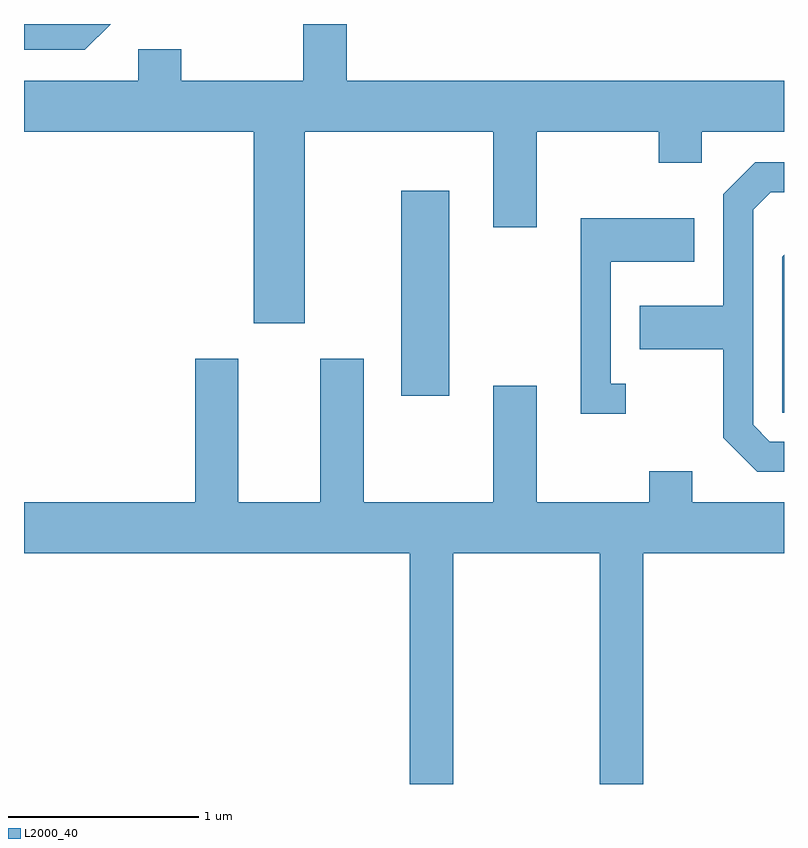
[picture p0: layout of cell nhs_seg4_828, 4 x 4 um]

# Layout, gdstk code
import gdstk
lib = gdstk.Library(unit=1e-6, precision=1e-09)
def R(c, l, rs):  # rectangles x0, y0, x1, y1
    for r in rs: c.add(gdstk.rectangle(r[:2], r[2:], *l))
def P(c, l, *ps):  # polygons
    for p in ps: c.add(gdstk.Polygon(p, *l))
L2000_40 = (2000, 40)

nhs_seg4_828 = lib.new_cell('nhs_seg4_828')
R(nhs_seg4_828, L2000_40, [(211.596,1280.026,211.849,1281.104)])
P(nhs_seg4_828, L2000_40, [(211.089,1281.416),(212.081,1281.416),(212.081,1280.911),(212.309,1280.911),(212.309,1281.416),(212.951,1281.416),(212.951,1281.251),(213.179,1281.251),(213.179,1281.416),(213.611,1281.416),(213.611,1281.684),(211.309,1281.684),(211.309,1281.982),(211.081,1281.982),(211.081,1281.684),(210.439,1281.684),(210.439,1281.849),(210.211,1281.849),(210.211,1281.684),(209.611,1281.684),(209.611,1281.416),(210.821,1281.416),(210.821,1280.406),(211.089,1280.406)],
  [(210.067,1281.982),(209.611,1281.982),(209.611,1281.846),(209.932,1281.846)],
  [(213.611,1279.784),(213.537,1279.784),(213.449,1279.872),(213.449,1281.004),(213.542,1281.096),(213.611,1281.096),(213.611,1281.254),(213.459,1281.254),(213.291,1281.087),(213.291,1280.499),(212.851,1280.499),(212.851,1280.271),(213.291,1280.271),(213.291,1279.804),(213.469,1279.626),(213.611,1279.626)],
  [(212.778,1280.089),(212.699,1280.089),(212.699,1280.731),(213.139,1280.731),(213.139,1280.959),(212.541,1280.959),(212.541,1279.931),(212.778,1279.931)],
  [(213.611,1280.767),(213.601,1280.757),(213.601,1279.936),(213.611,1279.936)],
  [(211.869,1279.196),(212.641,1279.196),(212.641,1277.982),(212.869,1277.982),(212.869,1279.196),(213.611,1279.196),(213.611,1279.464),(213.129,1279.464),(213.129,1279.629),(212.901,1279.629),(212.901,1279.464),(212.309,1279.464),(212.309,1280.079),(212.081,1280.079),(212.081,1279.464),(211.399,1279.464),(211.399,1280.219),(211.171,1280.219),(211.171,1279.464),(210.739,1279.464),(210.739,1280.219),(210.511,1280.219),(210.511,1279.464),(209.611,1279.464),(209.611,1279.196),(211.641,1279.196),(211.641,1277.982),(211.869,1277.982)])

lib.write_gds('nhs_seg4_828.gds')
